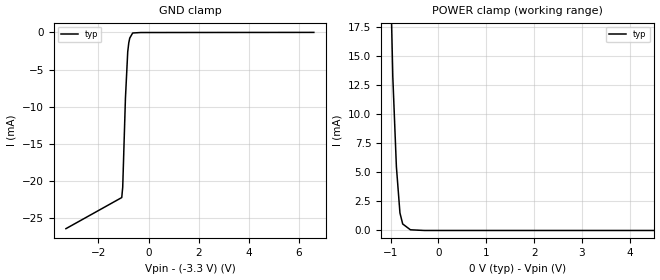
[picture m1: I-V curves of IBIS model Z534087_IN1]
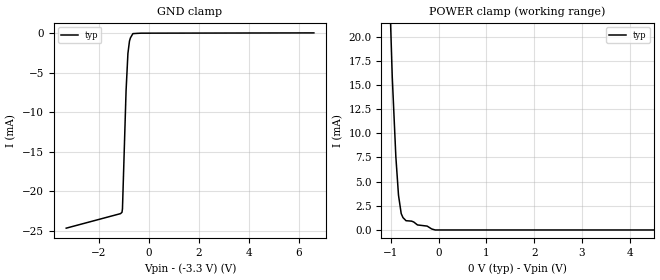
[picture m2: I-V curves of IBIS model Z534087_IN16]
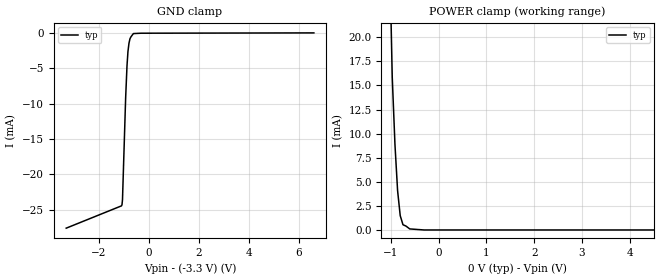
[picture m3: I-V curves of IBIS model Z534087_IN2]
| YOU ARE ONLY AUTHORIZED TO USE THIS SOFTWARE
| ACCORDING TO LICENSOR'S LICENSE RESTRICTIONS.
[IBIS Ver] 3.1
[File Name] mc100lvel56dw_-33.ibs
[File Rev] 4
[Source] Measured and created by ICX Technology
[Date] 4/5/2004
[Copyright]
| (C) COPYRIGHT 1993-2000
| MENTOR GRAPHICS CORPORATION
| ICX STANDARD LIBRARY, ICX PROJECT MODELING,
| ICX CUSTOM MODELING, ICX VENDOR MODEL
| ALL RIGHTS RESERVED.
| THE FOLLOWING ARE TRADEMARKS OR SERVICE MARKS OF
| MENTOR GRAPHICS CORPORATION:ICX (R), ICX STANDARD
| LIBRARY(R), ICX PROJECT MODELING(R), ICX CUSTOM
| MODELING(R), qualityIBIS(TM), MODELVIEWER(TM),
| AND MODELEDITOR(TM)
| ALL COPIES OF SOFTWARE, INCLUDING BUT NOT LIMITED TO
| ANY MODIFICATIONS, ENHANCEMENTS OR DERIVATIVE WORKS,
| MUST CONTAIN ALL MENTOR GRAPHICS CORPORATION'S
| NOTICES AND LEGENDS, INCLUDING THOSE EMBEDDED IN
| SOFTWARE AND THOSE AFFIXED TO SOFTWARE MEDIUM
| AND CONTAINER, AS RECEIVED FROM MENTOR GRAPHICS
| CORPORATION.
|  ZAP Model Builder 2.7
[Component] MC100LVEL56DW_-33
[Manufacturer] OnSemiconductor
[Package]
| variable   typ   min   max
R_pkg  .178ohms NA NA
L_pkg  4.43nH NA NA
C_pkg  .62pF NA NA
[Pin] signal_name  model_name  R_pin  L_pin C_pin
1 D0a Z534087_IN1 .186 5.37n .68p
2 _D0a Z534087_IN2 .182 4.89n .65p
3 VBB0 NC .178 4.42n .62p
4 D0b Z534087_IN4 .174 3.96n .59p
5 _D0b Z534087_IN5 .17 3.51n .56p
6 D1a Z534087_IN1 .17 3.51n .56p
7 _D1a Z534087_IN2 .174 3.96n .59p
8 VBB1 NC .178 4.42n .62p
9 D1b Z534087_IN4 .182 4.89n .65p
10 _D1b Z534087_IN5 .186 5.37n .68p
11 VEE POWER .186 5.37n .68p
12 _Q1 Z534087_OUT18 .182 4.89n .65p
13 Q1 Z534087_OUT19 .178 4.42n .62p
14 VCC POWER .174 3.96n .59p
15 SEL1 Z534087_IN16 .17 3.51n .56p
16 COM_SEL Z534087_IN16 .17 3.51n .56p
17 SEL0 Z534087_IN16 .174 3.96n .59p
18 _Q0 Z534087_OUT18 .178 4.42n .62p
19 Q0 Z534087_OUT19 .182 4.89n .65p
20 VCC POWER .186 5.37n .68p
[Diff Pin] inv_pin vdiff tdelay_typ tdelay_min tdelay_max
1 2 150mv NA NA NA
4 5 150mv NA NA NA
6 7 150mv NA NA NA
9 10 150mv NA NA NA
13 12 NA .525ns .400ns .650ns
19 18 NA .525ns .400ns .650ns
| Models and submodels in the file (7): Z534087_IN1 (Input_ECL), Z534087_IN16 (Input_ECL), Z534087_IN2 (Input_ECL), Z534087_IN4 (Input_ECL), Z534087_IN5 (Input_ECL), Z534087_OUT18 (Output_ECL), Z534087_OUT19 (Output_ECL)
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| (C) COPYRIGHT 1993-2000
| MENTOR GRAPHICS CORPORATION
| ICX STANDARD LIBRARY, ICX PROJECT MODELING,
| ICX CUSTOM MODELING, ICX VENDOR MODEL
| ALL RIGHTS RESERVED.
| THE FOLLOWING ARE TRADEMARKS OR SERVICE MARKS OF
| MENTOR GRAPHICS CORPORATION:ICX (R), ICX STANDARD
| LIBRARY(R), ICX PROJECT MODELING(R), ICX CUSTOM
| MODELING(R), qualityIBIS(TM), MODELVIEWER(TM),
| AND MODELEDITOR(TM)
| ALL COPIES OF SOFTWARE, INCLUDING BUT NOT LIMITED TO
| ANY MODIFICATIONS, ENHANCEMENTS OR DERIVATIVE WORKS,
| MUST CONTAIN ALL MENTOR GRAPHICS CORPORATION'S
| NOTICES AND LEGENDS, INCLUDING THOSE EMBEDDED IN
| SOFTWARE AND THOSE AFFIXED TO SOFTWARE MEDIUM
| AND CONTAINER, AS RECEIVED FROM MENTOR GRAPHICS
| CORPORATION.
| Model Application Version 1.89 2/18/99.
[Model] Z534087_IN1
Model_type Input_ECL
Vinl = -1.900V
Vinh = -1.600V
C_comp 2.000pF NA NA
| variable typ   min   max
[Voltage Range] -3.300V NA NA
[GND Clamp Reference] -3.300V NA NA
[POWER Clamp Reference] 0.000V NA NA
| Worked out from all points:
|   GND clamp passes 1 mA (typ) near -0.77 V on its own axis
|   POWER clamp passes 1 mA (typ) near -0.77 V on its own axis
[GND Clamp]
-3.3V     -26.43mA   NA         NA
-1.071V   -22.24mA   NA         NA
-1.032V   -20.84mA   NA         NA
-924mV    -8.902mA   NA         NA
-832mV    -2.602mA   NA         NA
-790mV    -1.39mA    NA         NA
-751mV    -754.6uA   NA         NA
-634mV    -72.83uA   NA         NA
-317mV    -8.899uA   NA         NA
6.6V      9.167uA    NA         NA
[POWER Clamp]
-3.3V     980.3mA    NA         NA
-1.069V   69.99mA    NA         NA
-1.059V   48.84mA    NA         NA
-1.021V   25.41mA    NA         NA
-953.9mV  13.22mA    NA         NA
-878.9mV  5.485mA    NA         NA
-804.5mV  1.503mA    NA         NA
-747mV    559.1uA    NA         NA
-585.9mV  58.91uA    NA         NA
-293mV    0A         NA         NA
6.6V      0A         NA         NA
| (C) COPYRIGHT 1993-2000
| MENTOR GRAPHICS CORPORATION
| ICX STANDARD LIBRARY, ICX PROJECT MODELING,
| ICX CUSTOM MODELING, ICX VENDOR MODEL
| ALL RIGHTS RESERVED.
| THE FOLLOWING ARE TRADEMARKS OR SERVICE MARKS OF
| MENTOR GRAPHICS CORPORATION:ICX (R), ICX STANDARD
| LIBRARY(R), ICX PROJECT MODELING(R), ICX CUSTOM
| MODELING(R), qualityIBIS(TM), MODELVIEWER(TM),
| AND MODELEDITOR(TM)
| ALL COPIES OF SOFTWARE, INCLUDING BUT NOT LIMITED TO
| ANY MODIFICATIONS, ENHANCEMENTS OR DERIVATIVE WORKS,
| MUST CONTAIN ALL MENTOR GRAPHICS CORPORATION'S
| NOTICES AND LEGENDS, INCLUDING THOSE EMBEDDED IN
| SOFTWARE AND THOSE AFFIXED TO SOFTWARE MEDIUM
| AND CONTAINER, AS RECEIVED FROM MENTOR GRAPHICS
| CORPORATION.
| Model Application Version 1.89 2/18/99.
[Model] Z534087_IN16
Model_type Input_ECL
Vinl = -1.900V
Vinh = -1.600V
C_comp 2.000pF NA NA
| variable typ   min   max
[Voltage Range] -3.300V NA NA
[GND Clamp Reference] -3.300V NA NA
[POWER Clamp Reference] 0.000V NA NA
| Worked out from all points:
|   GND clamp passes 1 mA (typ) near -0.77 V on its own axis
|   POWER clamp passes 1 mA (typ) near -0.69 V on its own axis
[GND Clamp]
-3.3V     -24.7mA    NA         NA
-1.129V   -22.86mA   NA         NA
-1.07V    -22.69mA   NA         NA
-1.051V   -22.25mA   NA         NA
-907mV    -7.286mA   NA         NA
-833mV    -2.572mA   NA         NA
-771mV    -1.01mA    NA         NA
-732mV    -601.2uA   NA         NA
-634mV    -64.63uA   NA         NA
-317mV    -8.481uA   NA         NA
6.6V      26.37uA    NA         NA
[POWER Clamp]
-3.3V     762.1mA    NA         NA
-1.021V   23.68mA    NA         NA
-971.1mV  15.83mA    NA         NA
-896.3mV  7.594mA    NA         NA
-840.8mV  3.604mA    NA         NA
-784.1mV  1.696mA    NA         NA
-746.8mV  1.278mA    NA         NA
-683mV    958.7uA    NA         NA
-566.1mV  913.8uA    NA         NA
-443.7mV  520.5uA    NA         NA
-72.4mV   0A         NA         NA
6.6V      0A         NA         NA
| (C) COPYRIGHT 1993-2000
| MENTOR GRAPHICS CORPORATION
| ICX STANDARD LIBRARY, ICX PROJECT MODELING,
| ICX CUSTOM MODELING, ICX VENDOR MODEL
| ALL RIGHTS RESERVED.
| THE FOLLOWING ARE TRADEMARKS OR SERVICE MARKS OF
| MENTOR GRAPHICS CORPORATION:ICX (R), ICX STANDARD
| LIBRARY(R), ICX PROJECT MODELING(R), ICX CUSTOM
| MODELING(R), qualityIBIS(TM), MODELVIEWER(TM),
| AND MODELEDITOR(TM)
| ALL COPIES OF SOFTWARE, INCLUDING BUT NOT LIMITED TO
| ANY MODIFICATIONS, ENHANCEMENTS OR DERIVATIVE WORKS,
| MUST CONTAIN ALL MENTOR GRAPHICS CORPORATION'S
| NOTICES AND LEGENDS, INCLUDING THOSE EMBEDDED IN
| SOFTWARE AND THOSE AFFIXED TO SOFTWARE MEDIUM
| AND CONTAINER, AS RECEIVED FROM MENTOR GRAPHICS
| CORPORATION.
| Model Application Version 1.89 2/18/99.
[Model] Z534087_IN2
Model_type Input_ECL
Vinl = -1.900V
Vinh = -1.600V
C_comp 2.000pF NA NA
| variable typ   min   max
[Voltage Range] -3.300V NA NA
[GND Clamp Reference] -3.300V NA NA
[POWER Clamp Reference] 0.000V NA NA
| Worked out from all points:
|   GND clamp passes 1 mA (typ) near -0.76 V on its own axis
|   POWER clamp passes 1 mA (typ) near -0.77 V on its own axis
[GND Clamp]
-3.3V     -27.6mA    NA         NA
-1.088V   -24.44mA   NA         NA
-1.069V   -24.26mA   NA         NA
-1.05V    -23.58mA   NA         NA
-924mV    -9.149mA   NA         NA
-870mV    -4.638mA   NA         NA
-832mV    -2.615mA   NA         NA
-790mV    -1.412mA   NA         NA
-751mV    -796.2uA   NA         NA
-615mV    -63.19uA   NA         NA
6.6V      35.21uA    NA         NA
[POWER Clamp]
-3.3V     957.9mA    NA         NA
-1.003V   23.17mA    NA         NA
-971.6mV  15.88mA    NA         NA
-914.6mV  8.862mA    NA         NA
-859.7mV  4.087mA    NA         NA
-804.6mV  1.486mA    NA         NA
-746.9mV  543.3uA    NA         NA
-605.5mV  108.8uA    NA         NA
-302.7mV  0A         NA         NA
6.6V      0A         NA         NA
